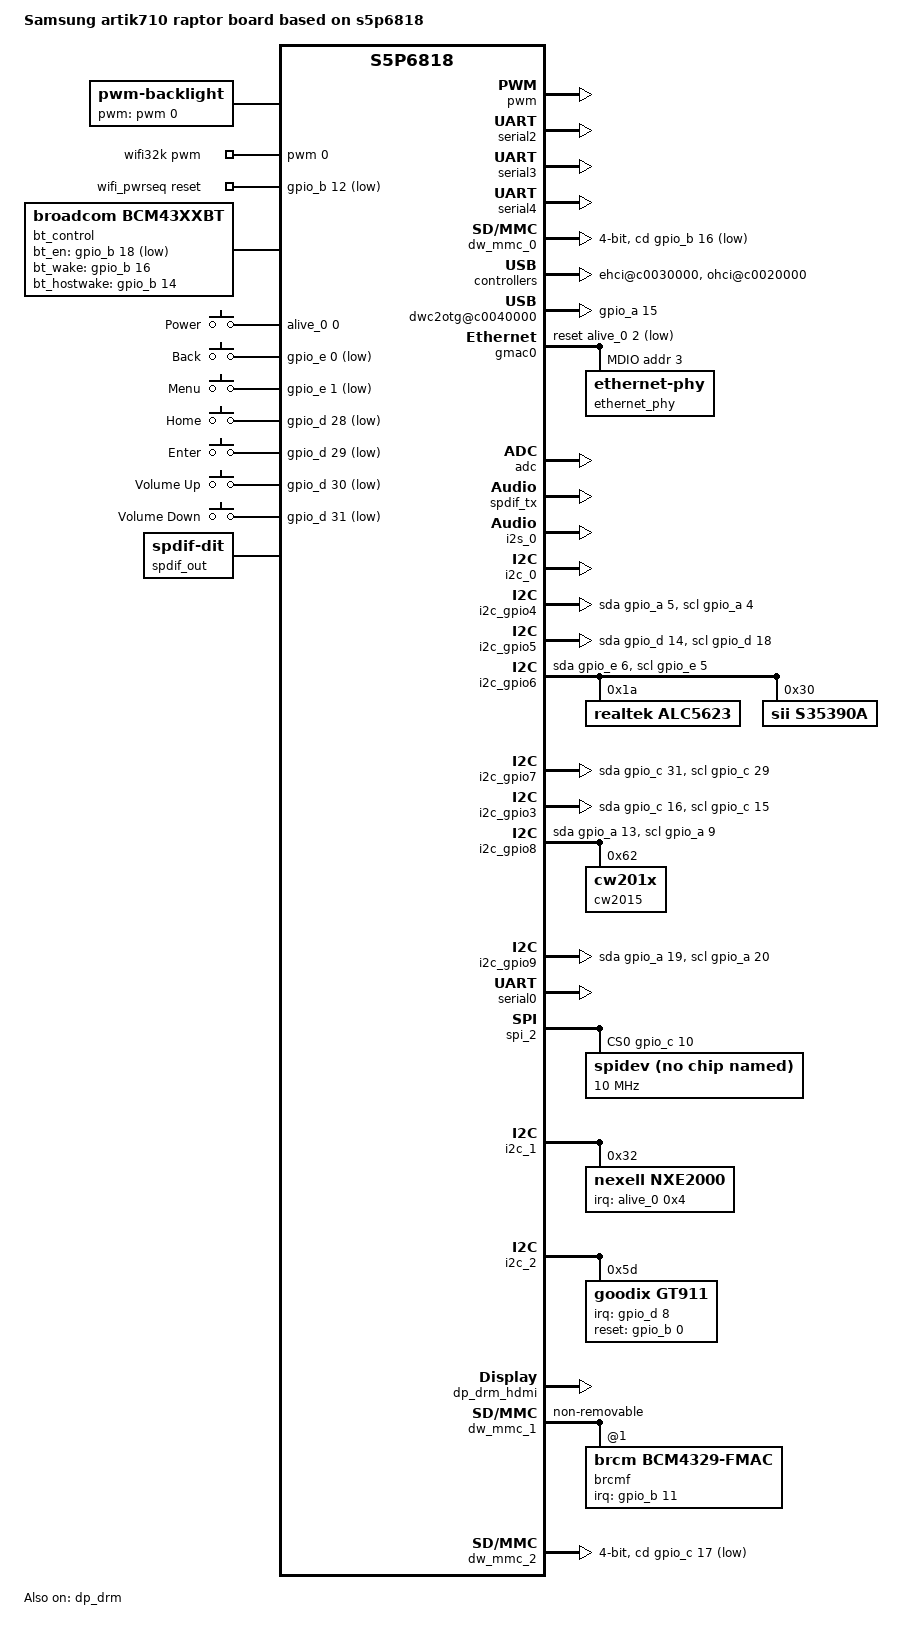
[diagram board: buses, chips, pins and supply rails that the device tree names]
/*
 * Copyright (C) 2016  Nexell Co., Ltd.
 * Author: Youngbok, Park <ybpark@nexell.co.kr>
 *
 * This program is free software; you can redistribute it and/or
 * modify it under the terms of the GNU General Public License
 * as published by the Free Software Foundation; either version 2
 * of the License, or (at your option) any later version.
 *
 * This program is distributed in the hope that it will be useful,
 * but WITHOUT ANY WARRANTY; without even the implied warranty of
 * MERCHANTABILITY or FITNESS FOR A PARTICULAR PURPOSE.  See the
 * GNU General Public License for more details.
 *
 * You should have received a copy of the GNU General Public License
 * along with this program.  If not, see <http://www.gnu.org/licenses/>.
 */

#include <dt-bindings/interrupt-controller/irq.h>
#include <dt-bindings/input/input.h>
#include <dt-bindings/gpio/gpio.h>
#include "s5p6818-artik710.dtsi"

#define PMIC_PDATA_INIT(_id, _rname, _minuv,	\
			_maxuv, _init_uv, _init_enable,		\
			_set_init_uV, _slp_slots)	\
		regulator-name = _rname;		\
		regulator-min-microvolt = <_minuv>;	\
		regulator-max-microvolt = <_maxuv>;	\
		nx,id = <_id>;				\
		nx,init_enable = <_init_enable>;	\
		nx,init_uV = <_init_uv>;		\
		nx,set_init_uV = <_set_init_uV>;	\
		nx,sleep_slots = <_slp_slots>;

/ {
	model = "Samsung artik710 raptor board based on s5p6818";
	serial-number = "0003-sdta53";
	compatible = "samsung,artik710-raptor", "samsung,artik710",
		   "nexell,s5p6818";

	aliases {
		i2c1 = &i2c_1;
		i2c3 = &i2c_gpio3;
		i2c4 = &i2c_gpio4;
		i2c5 = &i2c_gpio5;
		i2c6 = &i2c_gpio6;
		i2c7 = &i2c_gpio7;
		i2c8 = &i2c_gpio8;
		i2c9 = &i2c_gpio9;
	};

	nx-v4l2 {
		status = "okay";
	};

	nx-devfreq {
		pll = <0>;
		status = "okay";
	};

	soc {

		clocks {
			vip0:vip@c00c1000 { clock-frequency = <300000000>;};
			sdhc0:sdhc@c00c5000 {
			      clk-input = <(I_PLL2 | I_GATE_PCLK)>;
			};
			sdhc1:sdhc@c00cc000 {
			      clk-input = <(I_PLL2 | I_GATE_PCLK)>;
			};
			sdhc2:sdhc@c00cd000 {
			      clk-input = <(I_PLL2 | I_GATE_PCLK)>;
			};
			timer0:timer@c00b9000 {
			      clk-input = <I_PLL2>;
			};
			timer1:timer@c00bb000 {
			      clk-input = <I_PLL2>;
			};
			pwm0:pwm0@c00ba000 {
			      clk-input = <I_PLL2>;
			};
		};

		timer@c0017000 {
			clocks =  <&timer0>, <&timer1>;
			clock-names = "timer0", "timer1";
		};

		pwm:pwm@c0018000 {
			clocks =  <&pwm0>, <&pwm2>;
			clock-names = "pwm-tclk0", "pwm-tclk1";
		};

		serial2:serial@c00a2000 {
			status ="okay";
		};

		serial3:serial@c00a3000 {
			status ="okay";
		};

		serial4:serial@c006d000 {
			status ="okay";
		};

		dw_mmc_0:dw_mmc@c0062000 {
			num-slots = <1>;
			bus-width = <4>;
			cap-sd-highspeed;
			clock-frequency = <100000000>;
			card-detect-delay = <200>;
			disable-wp;
			cd-gpios = <&gpio_b 16 0>;
			cd-inverted;
			nexell,drive_dly = <0x0>;
			nexell,drive_shift = <0x02>;
			nexell,sample_dly = <0x00>;
			nexell,sample_shift = <0x01>;
			status = "okay";
		};

		nexell_usbphy: nexell-usbphy@c0012000 {
			status = "okay";
		};

		ehci@c0030000 {
			samsung,vbus-gpio = <&gpio_a 16 0>;
			status = "okay";
			port@0 {
				status = "okay";
			};
			port@1 {
				status = "okay";
			};
		};

		ohci@c0020000 {
			status = "okay";
			port@0 {
				status = "okay";
			};
		};

		dwc2otg@c0040000 {
			gpios = <&gpio_a 15 0>;
			g-extcon-always-on;
			status = "okay";
		};

		gmac0:ethernet@c0060000 {
			pinctrl-names = "default";
			pinctrl-0 = <&gmac_pins>;

			status = "okay";
			#address-cells = <0x1>;
			#size-cells = <0x0>;

			snps,phy-addr = <3>;
			snps,reset-gpio = <&alive_0 2 0>;
			snps,reset-active-low;
			snps,reset-delays-us = <0 10000 30000>;

			boost-busfreq;
			boost-busfreq-timeout = <100000>;

			mdio {
				#address-cells = <1>;
				#size-cells = <0>;

				ethernet_phy: ethernet-phy@3 {
					reg = <3>;
					fixed-link {
						speed = <1000>;
						full-duplex;
					};
				};
			};
		};

		adc:adc@c0053000 {
			status = "okay";
		};

		watchdog@c0019000 {
			status = "okay";
		};

		pinctrl@C0010000 {
			pinctrl-names = "default";
			pinctrl-0 = <&initial>;

			initial: initial-state {
				/* External GPIO */
				PIN_OUT(gpioa-0, LOW, FUNC0, NONE, STR0);
				PIN_OUT(gpioa-14, LOW, FUNC0, NONE, STR0);
				PIN_OUT(gpioa-25, LOW, FUNC0, NONE, STR0);
				PIN_OUT(gpioa-26, LOW, FUNC0, NONE, STR0);
				PIN_OUT(gpioa-27, LOW, FUNC0, NONE, STR0);
				PIN_OUT(gpiob-9, LOW, FUNC0, NONE, STR0);
				PIN_OUT(gpiob-14, LOW, FUNC2, NONE, STR0);
				PIN_OUT(gpioe-2, LOW, FUNC0, NONE, STR0);

				/* NC */
				PIN_OUT(gpioc-1, LOW, FUNC1, NONE, STR0);
				PIN_OUT(gpioc-2, LOW, FUNC1, NONE, STR0);
				PIN_OUT(gpioc-4, LOW, FUNC1, NONE, STR0);
				PIN_OUT(gpioc-7, LOW, FUNC1, NONE, STR0);
				PIN_OUT(gpioc-24, LOW, FUNC1, NONE, STR0);
				PIN_OUT(gpioc-28, LOW, FUNC0, NONE, STR0);
				PIN_OUT(gpioe-12, LOW, FUNC0, NONE, STR0);
				PIN_OUT(gpioe-13, LOW, FUNC0, NONE, STR0);
				PIN_OUT(gpioe-22, LOW, FUNC0, NONE, STR0);
				PIN_OUT(gpioe-23, LOW, FUNC0, NONE, STR0);

				/* Led & Switch */
				PIN_OUT(gpioa-28, LOW, FUNC0, NONE, STR0);
				PIN_IN(gpioa-30, FUNC0, NONE, STR0);
				PIN_IN(gpiob-0, FUNC0, NONE, STR0);
				PIN_OUT(gpiob-6, LOW, FUNC0, NONE, STR0);

				/* Etc */
				PIN_IN(gpioa-10, FUNC0, NONE, STR0);
				PIN_IN(gpioa-11, FUNC0, NONE, STR0);
				PIN_IN(gpiob-27, FUNC1, NONE, STR0);
				PIN_IN(gpiod-8, FUNC0, NONE, STR0);
			};

			key_power:key_power {
				nexell,pins = "alive-0";
				nexell,pin-function = <0>;
				nexell,pin-pull = <1>;
				nexell,pin-strength = <0>;
			};

			key_homepage:key_homepage {
				nexell,pins = "gpiod-28";
				nexell,pin-function = <0>;
				nexell,pin-pull = <1>;
				nexell,pin-strength = <0>;
			};

			key_enter:key_enter {
				nexell,pins = "gpiod-29";
				nexell,pin-function = <0>;
				nexell,pin-pull = <1>;
				nexell,pin-strength = <0>;
			};

			key_volup:key_volup {
				nexell,pins = "gpiod-30";
				nexell,pin-function = <0>;
				nexell,pin-pull = <1>;
				nexell,pin-strength = <0>;
			};

			key_voldown:key_voldown {
				nexell,pins = "gpiod-31";
				nexell,pin-function = <0>;
				nexell,pin-pull = <1>;
				nexell,pin-strength = <0>;
			};

			key_func1:key_func1 {
				nexell,pins = "gpioe-0";
				nexell,pin-function = <0>;
				nexell,pin-pull = <1>;
				nexell,pin-strength = <0>;
            		};

			key_func2:key_func2 {
				nexell,pins = "gpioe-1";
				nexell,pin-function = <0>;
				nexell,pin-pull = <1>;
				nexell,pin-strength = <0>;
			};

			pmic_irq:pmic_irq{
				nexell,pins = "alive-5";
				nexell,pin-function = <NX_PIN_FUNC0>;
				nexell,pin-pull = <NX_PIN_PULL_UP>;
				nexell,pin-strength = <NX_PIN_STR0>;
			};

			touchpanel_irq: touchpanel-irq {
				nexell,pins = "gpiob-22";
				nexell,pin-function = <NX_PIN_FUNC1>;
				nexell,pin-pull = <NX_PIN_PULL_UP>;
				nexell,pin-strength = <NX_PIN_STR0>;
			};

			tsp_irq: tsp-irq {
				nexell,pins = "gpiob-8";
				nexell,pin-function = <NX_PIN_FUNC0>;
				nexell,pin-pull = <NX_PIN_PULL_UP>;
				nexell,pin-strength = <NX_PIN_STR0>;
			};

			tsp_reset: tsp-reset {
				nexell,pins = "gpioc-25";
				nexell,pin-function = <NX_PIN_FUNC0>;
				nexell,pin-pull = <NX_PIN_PULL_UP>;
				nexell,pin-strength = <NX_PIN_STR0>;
			};

			bt_cfg_reg_on: bt_cfg_reg_on {
				nexell,pins = "gpiob-18";
				nexell,pin-function = <NX_PIN_FUNC2>;
				nexell,pin-pull = <NX_PIN_PULL_NONE>;
				nexell,pin-strength = <NX_PIN_STR0>;
			};

			bt_cfg_hostwake:bt_cfg_hostwake {
				nexell,pins = "gpiob-14";
				nexell,pin-function = <2>;
				nexell,pin-pull = <0>;
				nexell,pin-strength = <0>;
			};
			bt_cfg_btwake:bt_cfg_btwake {
				nexell,pins = "gpiob-16";
				nexell,pin-function = <2>;
				nexell,pin-pull = <2>;
				nexell,pin-strength = <0>;
			};
		};

		spdif_tx: spdiftx@c0059000 {
			#sound-dai-cells = <1>;
			pcm-bit = <16>;
			sample_rate = <48000>;
			status = "okay";
		};

		video-codec@c0080000 {
			status = "okay";
			sram = <0 0>;
		};

		i2s_0:i2s@c0055000 {
			#sound-dai-cells = <1>;
			master-mode = <1>;
			mclk-in = <0>;
			trans-mode = <0>;
			frame-bit = <32>;
			sample-rate = <48000>;
			pre-supply-mclk = <1>;
			status = "okay";
		};

		vip_0:vip@c0063000 {
			status = "okay";
		};

		i2c_0:i2c@c00a4000 {
			samsung,i2c-max-bus-freq = <400000>;
			status = "okay";
		};

		mipi_csi:mipi_csi@c00d0000 {
			data_lane = <2>;
			pllval = <750>;
			hssettle = <7 7 7 7>;
			status = "disabled";
		};

		clipper_0:clipper0@c0063000 {
			interface_type = <NX_CAPTURE_INTERFACE_MIPI_CSI>;
			gpios = <&gpio_a 17 0 &gpio_a 3 0 &gpio_a 6 0>;
			data_order = <NX_VIN_Y0CBY1CR>;
			status = "disabled";
			sensor {
				type = <NX_CAPTURE_SENSOR_I2C>;
				i2c_name = "S5K4ECGA";
				i2c_adapter = <0>;
				addr = <0x56>;
			};
			power {
				enable_seq = <
					NX_ACTION_START NX_ACTION_TYPE_GPIO 2 1 2 NX_ACTION_END
					NX_ACTION_START NX_ACTION_TYPE_GPIO 1 1 1 NX_ACTION_END
					NX_ACTION_START NX_ACTION_TYPE_GPIO 0 1 1 NX_ACTION_END
				>;

				disable_seq = <
					NX_ACTION_START NX_ACTION_TYPE_GPIO 0 0 1 NX_ACTION_END
					NX_ACTION_START NX_ACTION_TYPE_GPIO 1 0 1 NX_ACTION_END
					NX_ACTION_START NX_ACTION_TYPE_GPIO 2 0 2 NX_ACTION_END
				>;
			};
		};

		scaler@c0066000 {
			status = "okay";
		};
	};	/*** soc ***/

	backlight: pwm-backlight {
		compatible = "pwm-backlight";
		pwms = <&pwm 0 20000 0>;
		pwm-names = "pwm-backlight";
		brightness-levels = < 0  1  2  3  4  5  6  7  8  9
				     10 11 12 13 14 15 16 17 18 19
				     20 21 22 23 24 25 26 27 28 29
				     30 31 32 33 34 35 36 37 38 39
				     40 41 42 43 44 45 46 47 48 49
				     50 51 52 53 54 55 56 57 58 59
				     60 61 62 63 64 65 66 67 68 69
				     70 71 72 73 74 75 76 77 78 79
				     80 81 82 83 84 85 86 87 88 89
				     90 91 92 93 94 95 96 97 98 99
				    100>;
		default-brightness-level = <60>;
		status = "okay";
	};

	wifi32k: wifi32k {
		compatible = "pwm-clock";
		#clock-cells = <0>;
		clock-frequency = <32768>;
		pwms = <&pwm 0 30518 0>;
	};

	wifi_pwrseq: wifi-pwrseq {
		compatible = "mmc-pwrseq-simple";
		reset-gpios = <&gpio_b 12 GPIO_ACTIVE_LOW>;
		post-power-on-delay-ms = <700>;
		power-off-delay-us = "60";
//		clocks = <&wifi32k>;
//		clock-names = "lpo";
	};

	bt_control {
		compatible = "broadcom,bcm43xxbt";
		pinctrl-names = "bt cfg";
		pinctrl-0 = <&bt_cfg_reg_on &bt_cfg_hostwake &bt_cfg_btwake>;
		bt_en-gpio = <&gpio_b 18 1>; /* GPIOB18 = BT_EN */
		bt_wake-gpio = <&gpio_b 16 0>;	/* GPIOB16 = BT_WAKE */
		bt_hostwake-gpio = <&gpio_b 14 0>;	/* GPIOB14 = BT_HOST_WAKE */
		status = "okay";
	};

#if 0 /* HBAHN */
	panel: panel-simple {
		compatible = "dongguan,gst7d0038";
		backlight = <&backlight>;
		status = "disabled";

		port {
			lvds_panel: endpoint {
			};
		};
	};
#endif /* HBAHN */

	i2c_gpio4: i2c@4 {
		compatible = "i2c-gpio";
		gpios = <&gpio_a 5 0 /* sda */
			&gpio_a 4 0 /* scl */
			>;
		i2c-gpio,delay-us = <100>;
		#address-cells = <1>;
		#size-cells = <0>;
		status = "okay";
	};


	i2c_gpio5: i2c@5 {
		compatible = "i2c-gpio";
		gpios = <&gpio_d 14 0	/* sda */
			&gpio_d 18 0	/* scl */
			>;
		i2c-gpio,delay-us = <10>;
		#address-cells = <1>;
		#size-cells = <0>;

#if 0 /* HBAHN */
		usb3503: usb3503@08 {
			compatible = "smsc,usb3503";
			reg = <0x08>;
			intn-gpios = <&gpio_b 23 0>;
			connect-gpios = <&gpio_a 18 0>;
			reset-gpios = <&gpio_a 22 0>;
			initial-mode = <1>;
		};
#endif /* HBAHN */
	};

	i2c_gpio6:i2c@6 {
		compatible = "i2c-gpio";
		gpios = <&gpio_e 6 0	/* SDA */
			 &gpio_e 5 0	/* SCL */
			>;
		i2c-gpio,delay-us = <1>;
		#address-cells = <1>;
		#size-cells = <0>;

		/* sound codec */
		alc5623: alc5623@1a {
			#sound-dai-cells = <0>;
			compatible = "realtek,alc5623";
			reg = <0x1a>;
		};

		/* RTC provided by Seiko S-35390A I2C RTC chip */
		s35390a: s35390a@30 {
			status = "okay";
			compatible = "sii,s35390a";
			reg = <0x30>;
		};
	};

	i2c_gpio7:i2c@7 {
		compatible = "i2c-gpio";

		gpios = <&gpio_c 31 0        /* SDA */
			&gpio_c 29 0        /* SCL */
			>;

		#address-cells = <1>;
		#size-cells = <0>;
		status = "okay";
	}; /* i2c_gpio7 */

	sound {
		compatible = "simple-audio-card";
		simple-audio-card,name = "Artik710 raptor Audio";
		simple-audio-card,mclk-fs = <256>;
		simple-audio-card,widgets =
		    "Headphone", "Out Jack",
		    "Microphone", "In Jack";
		simple-audio-card,routing =
		    "Out Jack", "HPOL",
		    "Out Jack", "HPOR",
		    "IN2P", "In Jack",
		    "IN2P", "In Jack";
		status = "okay";

		simple-audio-card,dai-link@0 {
		    format = "i2s";
		    cpu {
			sound-dai = <&i2s_0 0>;
		    };

		    codec {
			sound-dai = <&alc5623>;
		    };
		};

		simple-audio-card,dai-link@1 {
		    cpu {
			sound-dai = <&spdif_tx 0>;
		    };

		    codec {
			sound-dai = <&spdif_out>;
		    };
		};
	};

	gpio_key: gpio_keys {
		compatible = "gpio-keys";
		#address-cells = <1>;
		#size-cells = <0>;
		pinctrl-names = "default";
		pinctrl-0 = <&key_power &key_func1 &key_func2>,
			<&key_homepage &key_enter &key_volup &key_voldown>;

		power {
			label = "Power";
			gpios = <&alive_0 0 0>;
			linux,code = <KEY_POWER>;
			gpio-key,wakeup;
		};

		back {
			label = "Back";
			gpios = <&gpio_e 0 GPIO_ACTIVE_LOW>;
			linux,code = <KEY_BACK>;
		};

		menu {
			label = "Menu";
			gpios = <&gpio_e 1 GPIO_ACTIVE_LOW>;
			linux,code = <KEY_MENU>;
		};

		home {
			label = "Home";
			gpios = <&gpio_d 28 GPIO_ACTIVE_LOW>;
			linux,code = <KEY_HOME>;
			gpio-key,wakeup;
		};

		key_enter {
			label = "Enter";
			gpios = <&gpio_d 29 GPIO_ACTIVE_LOW>;
			linux,code = <KEY_ENTER>;
			gpio-key,wakeup;
		};

		key_volup {
			label = "Volume Up";
			gpios = <&gpio_d 30 GPIO_ACTIVE_LOW>;
			linux,code = <KEY_VOLUMEUP>;
		};

		key_voldown {
			label = "Volume Down";
			gpios = <&gpio_d 31 GPIO_ACTIVE_LOW>;
			linux,code = <KEY_VOLUMEDOWN>;
		};
	};

	spdif_out: spdif-out {
		#sound-dai-cells = <0>;
		compatible = "linux,spdif-dit";
	};

	i2c_gpio3: i2c@3 {
		compatible = "i2c-gpio";
		gpios = <&gpio_c 16 0		/* SDA */
			 &gpio_c 15 0		/* SCL */
				>;
		#address-cells = <1>;
		#size-cells = <0>;
		status = "okay";
	};

	i2c_gpio8: i2c@8 {
		compatible = "i2c-gpio";
		gpios = <&gpio_a 13 0	/* sda */
			&gpio_a 9 0		/* scl */
			>;
		i2c-gpio,delay-us = <1>;	/* ~100kHz */
		#address-cells = <1>;
		#size-cells = <0>;
		status = "okay";

		cw2015@62 {
			compatible = "cw201x";
			reg = <0x62>;

			bat_config_info = <0x15 0x4C 0x78 0x48 0x25
				0x16 0x45 0x60 0x67 0x5D
                0x56 0x4C 0x58 0x58 0x53
				0x57 0x59 0x5C 0x5E 0x65
                0x57 0x6C 0x78 0x75 0x85
				0x91 0x07 0xAE 0x74 0xA4
                0x96 0xA3 0xC1 0xC2 0xD2
				0xBF 0x40 0x1F 0x98 0x19
                0x05 0x38 0x48 0x79 0x8D
				0x92 0x92 0x23 0x73 0x80
                0x94 0xB0 0x37 0xC1 0x91
				0xCB 0x2F 0x7D 0x72 0xA5
				0xB5 0xC1 0x15 0x09>;

			is_dc_charge = <1>;
			is_usb_charge = <0>;
		};

	};

	i2c_gpio9: i2c@9 {
		compatible = "i2c-gpio";
		gpios = <&gpio_a 19 0	/* sda */
			&gpio_a 20 0	/* scl */
			>;
		i2c-gpio,delay-us = <1>;	/* ~100kHz */
		#address-cells = <1>;
		#size-cells = <0>;
		status = "okay";

#if 0 /* HBAHN */
		bq24296_charger@6b {
			compatible = "ti,bq24296";
			reg = <0x6b>;
			ti,chg_current = <1000 1500 2000>;
		};
#endif /* HBAHN */
	};

	regulators {
		VCC_DCDC0:
			dcdc1	{ PMIC_PDATA_INIT( 0,
				"nxe2000_dcdc1",
				900000, 1500000,
				1100000, 1, 0, 0x4)
				regulator-always-on;
				regulator-boot-on;};
		VCC_DCDC1:
			dcdc2	{ PMIC_PDATA_INIT( 1,
				"nxe2000_dcdc2",
				1000000, 1500000,
				1200000, 1, 0, 0x4)
				regulator-always-on;
				regulator-boot-on;};
		VCC_DCDC2:
			dcdc3	{ PMIC_PDATA_INIT( 2,
				"nxe2000_dcdc3",
				1000000, 3500000,
				3300000, 1, 1, 0xF)
				regulator-always-on;
				regulator-boot-on;};
		VCC_DCDC3:
			dcdc4	{ PMIC_PDATA_INIT( 3,
				"nxe2000_dcdc4",
				1000000, 2000000,
				1500000, 1, 0, 0xF)
				regulator-always-on;
				regulator-boot-on;};
		VCC_DCDC4:
			dcdc5	{ PMIC_PDATA_INIT( 4,
				"nxe2000_dcdc5",
				1000000, 2000000,
				1500000, 1, 0, 0x4)
				regulator-always-on;
				regulator-boot-on;};
		VCC_LDO0:
			ldo1	{ PMIC_PDATA_INIT( 5,
				"nxe2000_ldo1",
				1000000, 3500000,
				3300000, 0, 1, 0x0)
				regulator-boot-on;};
		VCC_LDO1:
			ldo2	{ PMIC_PDATA_INIT( 6,
				"nxe2000_ldo2",
				1000000, 3500000,
				3300000, 0, 1, 0x0)
				regulator-boot-on;};
		VCC_LDO2:
			ldo3	{ PMIC_PDATA_INIT( 7,
				"nxe2000_ldo3",
				1000000, 3500000,
				1800000, 1, 1, 0xF)
				regulator-always-on;
				regulator-boot-on;};
		VCC_LDO3:
			ldo4	{ PMIC_PDATA_INIT( 8,
				"nxe2000_ldo4",
				1000000, 3500000,
				1800000, 1, 1, 0x2)
				regulator-always-on;
				regulator-boot-on;};
		VCC_LDO4:
			ldo5	{ PMIC_PDATA_INIT( 9,
				"nxe2000_ldo5",
				1000000, 3500000,
				3300000, 0, 1, 0x0)
				regulator-boot-on;};
		VCC_LDO5:
			ldo6	{ PMIC_PDATA_INIT(10,
				"nxe2000_ldo6",
				1000000, 3500000,
				3300000, 1, 1, 0xF)
				regulator-always-on;
				regulator-boot-on;};
		VCC_LDO6:
			ldo7	{ PMIC_PDATA_INIT(11,
				"nxe2000_ldo7",
				1000000, 3500000,
				3300000, 1, 1, 0x0)
				regulator-always-on;
				regulator-boot-on;};
		VCC_LDO7:
			ldo8	{ PMIC_PDATA_INIT(12,
				"nxe2000_ldo8",
				1000000, 3500000,
				3300000, 0, 1, 0xF)
				regulator-boot-on;};
		VCC_LDO8:
			ldo9	{ PMIC_PDATA_INIT(13,
				"nxe2000_ldo9",
				1000000, 3500000,
				1800000, 0, 1, 0x2)
				regulator-boot-on;};
		VCC_LDO9:
			ldo10	{ PMIC_PDATA_INIT(14,
				"nxe2000_ldo10",
				1000000, 3500000,
				1200000, 1, 1, 0x4)
				regulator-always-on;
				regulator-boot-on;};
		VCC_RTC0:
			ldortc1	{ PMIC_PDATA_INIT(15,
				"nxe2000_rtc1",
				1700000, 3500000,
				1800000, 1, 1, 0xF)
				regulator-always-on;
				regulator-boot-on;};
		VCC_RTC1:
			ldortc2	{ PMIC_PDATA_INIT(16,
				"nxe2000_rtc2",
				1000000, 3500000,
				1000000, 1, 1, 0xF)
				regulator-always-on;
				regulator-boot-on;};
	}; /* regulators */

};

&serial0 {
	status = "okay";
};

&spi_2 {
	status = "okay";
	cs-gpios = <&gpio_c 10 0>;
	spidev@0 {
		compatible = "linux,spidev";
		reg = <0>;
		spi-max-frequency = <10000000>;
		controller-data {
			samsung,spi-feedback-delay = <0>;
		};
	};
};

&i2c_1 {
	#address-cells = <1>;
	#size-cells = <0>;
	status = "okay";

	nxe2000@32 {
		compatible = "nexell,nxe2000";
		reg = <0x32>;
		interrupt-parent = <&alive_0>;
		interrupts = <0x4 IRQ_TYPE_EDGE_FALLING>;
	};
};

&i2c_2 {
	#address-cells = <1>;
	#size-cells = <0>;
	rate = <400000>;
	status = "okay";

	/* touch screen */
	goodix@5d {
		compatible = "goodix,gt911";
		reg = <0x5d>;
		interrupt-parent = <&gpio_d>;
		interrupts = <8 IRQ_TYPE_EDGE_FALLING>;
		irq-gpios = <&gpio_d 8 0>;
		reset-gpios = <&gpio_b 0 0>;
		touchscreen-inverted-x;
//		touchscreen-inverted-y;
//		touchscreen-swapped-x-y;
	};
};

&pwm {
	status = "okay";
	pinctrl-0 = <&pwm0_pin &pwm1_pin &pwm2_pin>;
	samsung,pwm-outputs = <0>, <1>, <2>;
};

&dp_drm {
        status = "okay";
        ports {
                port@0 {
                        reg = <0>;
                        back_color = < 0x0 >;
                        color_key = < 0x0 >;
			plane-names = "rgb", "primary", "video";
		};
                port@1 {
                        reg = <1>;
                        back_color = < 0x0 >;
                        color_key = < 0x0 >;
			plane-names = "primary", "video";
		};
       };
};

&dp_drm_mipi {
	hs_bitrate = <960>;
	lp_bitrate = <100>;
	status = "disabled";

	panel@0 {
		compatible = "samsung,s6e8fa0";
		reg = <0>;
		vdd3-supply = <&VCC_LDO0>;
		vci-supply = <&VCC_LDO1>;
		reset-gpio = <&gpio_e 30 0>;
		power-on-delay= <50>;
		reset-delay = <100>;
		init-delay = <100>;
		panel-width-mm = <63>;
		panel-height-mm = <111>;
		display-timings {
			timing-0 {
				clock-frequency = <130361520>;
				hactive = <1080>;
				vactive = <1920>;
				hfront-porch = <32>;
				hback-porch = <16>;
				hsync-len = <12>;
				vfront-porch = <12>;
				vback-porch = <3>;
				vsync-len = <1>;
			};
		};
	};

	dp_control {
		clk_src_lv0 = <3>;
		clk_div_lv0 = <6>;
		clk_src_lv1 = <7>;
		clk_div_lv1 = <1>;
		out_format = <3>;
		vs_start_offset = <480>;
		ev_start_offset = <480>;
		vs_end_offset = <0>;
		ev_end_offset = <0>;
	};
};

&dp_drm_hdmi {
	ddc-i2c-bus = <&i2c_gpio7>;
	enable-gpios = <&gpio_a 21 0>;
	status = "ok";
	q_range = <0>;
};

#if 0 /* HBAHN */
&dp_drm_lvds {
	status = "disabled";

	remote-endpoint = <&lvds_panel>;

	dp_control {
		clk_src_lv0 = <3>;
		clk_div_lv0 = <16>;
		clk_src_lv1 = <7>;
		clk_div_lv1 = <1>;
		out_format = <3>;
	};
};
#endif /* HBAHN */

&decimator_0 {
	status = "disabled";
};

&dw_mmc_1 {
	pinctrl-names = "default";
	mmc-pwrseq = <&wifi_pwrseq>;

	cap-sd-highspeed;
	cap-sdio-irq;
	mmc-ddr-3_3v;
	broken-cd;
	non-removable;
	disable-wp;

	nexell,drive_dly = <0x0>;
	nexell,drive_shift = <0x03>;
	nexell,sample_dly = <0x00>;
	nexell,sample_shift = <0x02>;

	clock-frequency = <400000000>;
	status = "okay";

	brcmf: wifi@1 {
		reg = <1>;
		compatible = "brcm,bcm4329-fmac";
		interrupt-parent = <&gpio_b>;
		interrupts = <11 IRQ_TYPE_LEVEL_HIGH>; 
		interrupt-names = "host-wake";
		brcm,drive-strength = <6>;
	};
};

&dw_mmc_2 {
	num-slots = <1>;
	bus-width = <4>;
	cap-sd-highspeed;
	clock-frequency = <400000000>;
	card-detect-delay = <200>;
	disable-wp;
	cd-inverted;
	nexell,drive_dly = <0x0>;
	nexell,drive_shift = <0x02>;
	nexell,sample_dly = <0x00>;
	cd-gpios = <&gpio_c 17 0>;
	status = "okay";

	pinctrl-names = "default";
	pinctrl-0 = <&sdmmc2_cclk &sdmmc2_cmd &sdmmc2_bus4>;
};
